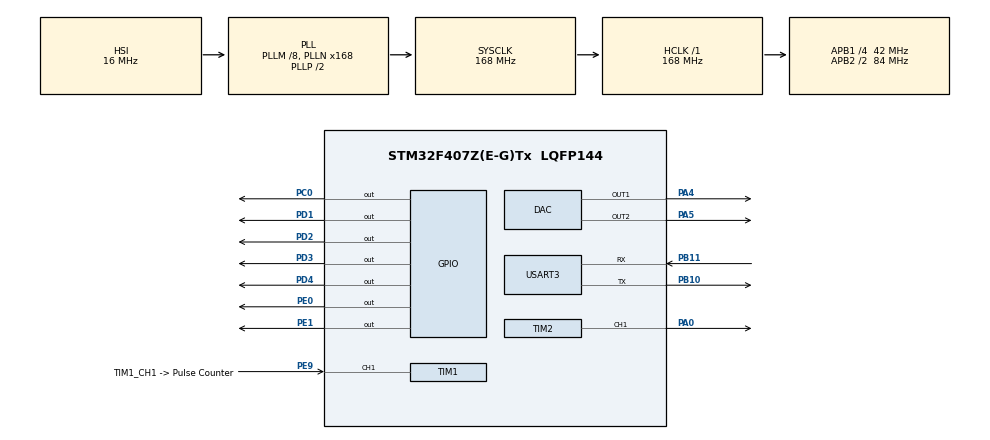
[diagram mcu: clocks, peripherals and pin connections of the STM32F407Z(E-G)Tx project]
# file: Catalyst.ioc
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Dma.Request0=USART3_RX
Dma.USART3_RX.0.Direction=DMA_PERIPH_TO_MEMORY
Dma.USART3_RX.0.FIFOMode=DMA_FIFOMODE_DISABLE
Dma.USART3_RX.0.Instance=DMA1_Stream1
Dma.USART3_RX.0.MemDataAlignment=DMA_MDATAALIGN_BYTE
Dma.USART3_RX.0.MemInc=DMA_MINC_ENABLE
Dma.USART3_RX.0.Mode=DMA_NORMAL
Dma.USART3_RX.0.PeriphDataAlignment=DMA_PDATAALIGN_BYTE
Dma.USART3_RX.0.PeriphInc=DMA_PINC_DISABLE
Dma.USART3_RX.0.Priority=DMA_PRIORITY_MEDIUM
Mcu.Family=STM32F4
Mcu.Name=STM32F407Z(E-G)Tx
Mcu.Package=LQFP144
NVIC.DMA1_Stream1_IRQn=true\:0\:0\:false\:false\:true\:false
NVIC.PriorityGroup=NVIC_PRIORITYGROUP_3
PA0-WKUP.GPIO_Speed=GPIO_SPEED_FREQ_VERY_HIGH
PA0-WKUP.Signal=S_TIM2_CH1_ETR
PA4.Signal=COMP_DAC1_group
PA5.Signal=COMP_DAC2_group
PB10.Mode=Asynchronous
PB10.Signal=USART3_TX
PB11.Mode=Asynchronous
PB11.Signal=USART3_RX
PC0.Signal=GPIO_Output
PD1.Signal=GPIO_Output
PD2.Signal=GPIO_Output
PD3.Signal=GPIO_Output
PD4.Signal=GPIO_Output
PE0.Signal=GPIO_Output
PE1.Signal=GPIO_Output
PE9.GPIO_Label=TIM1_CH1 -> Pulse Counter
PE9.GPIO_Speed=GPIO_SPEED_FREQ_VERY_HIGH
PE9.Signal=S_TIM1_CH1
ProjectManager.HeapSize=0x200
ProjectManager.StackSize=0x400
ProjectManager.TargetToolchain=MDK-ARM V5
RCC.48MHZClocksFreq_Value=84000000
RCC.AHBFreq_Value=168000000
RCC.APB1CLKDivider=RCC_HCLK_DIV4
RCC.APB1Freq_Value=42000000
RCC.APB1TimFreq_Value=84000000
RCC.APB2CLKDivider=RCC_HCLK_DIV2
RCC.APB2Freq_Value=84000000
RCC.APB2TimFreq_Value=168000000
RCC.CortexFreq_Value=168000000
RCC.HCLKFreq_Value=168000000
RCC.HSE_VALUE=25000000
RCC.HSI_VALUE=16000000
RCC.LSE_VALUE=32768
RCC.PLLM=8
RCC.PLLN=168
RCC.SYSCLKFreq_VALUE=168000000
RCC.SYSCLKSource=RCC_SYSCLKSOURCE_PLLCLK
RCC.VCOOutputFreq_Value=336000000
SH.COMP_DAC1_group.0=DAC_OUT1,DAC_OUT1
SH.COMP_DAC2_group.0=DAC_OUT2,DAC_OUT2
SH.S_TIM1_CH1.0=TIM1_CH1,TriggerSource_TI1FP1
SH.S_TIM2_CH1_ETR.0=TIM2_CH1,PWM Generation1 CH1
TIM1.Period=65535
TIM2.Channel-PWM\ Generation1\ CH1=TIM_CHANNEL_1
TIM8.Channel-PWM\ Generation1\ No\ Output=TIM_CHANNEL_1
USART3.VirtualMode=VM_ASYNC
VP_TIM1_VS_ControllerModeClock.Mode=Clock Mode
VP_TIM8_VS_no_output1.Mode=PWM Generation1 No Output
board=Catalyst

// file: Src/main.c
/**
  ******************************************************************************
  * @file           : main.c
  * @brief          : Main program body
  ******************************************************************************
  ** This notice applies to any and all portions of this file
  * that are not between comment pairs USER CODE BEGIN and
  * USER CODE END. Other portions of this file, whether
  * inserted by the user or by software development tools
  * are owned by their respective copyright owners.
  *
  * COPYRIGHT(c) 2020 STMicroelectronics
  *
  * Redistribution and use in source and binary forms, with or without modification,
  * are permitted provided that the following conditions are met:
  *   1. Redistributions of source code must retain the above copyright notice,
  *      this list of conditions and the following disclaimer.
  *   2. Redistributions in binary form must reproduce the above copyright notice,
  *      this list of conditions and the following disclaimer in the documentation
  *      and/or other materials provided with the distribution.
  *   3. Neither the name of STMicroelectronics nor the names of its contributors
  *      may be used to endorse or promote products derived from this software
  *      without specific prior written permission.
  *
  * THIS SOFTWARE IS PROVIDED BY THE COPYRIGHT HOLDERS AND CONTRIBUTORS "AS IS"
  * AND ANY EXPRESS OR IMPLIED WARRANTIES, INCLUDING, BUT NOT LIMITED TO, THE
  * IMPLIED WARRANTIES OF MERCHANTABILITY AND FITNESS FOR A PARTICULAR PURPOSE ARE
  * DISCLAIMED. IN NO EVENT SHALL THE COPYRIGHT HOLDER OR CONTRIBUTORS BE LIABLE
  * FOR ANY DIRECT, INDIRECT, INCIDENTAL, SPECIAL, EXEMPLARY, OR CONSEQUENTIAL
  * DAMAGES (INCLUDING, BUT NOT LIMITED TO, PROCUREMENT OF SUBSTITUTE GOODS OR
  * SERVICES; LOSS OF USE, DATA, OR PROFITS; OR BUSINESS INTERRUPTION) HOWEVER
  * CAUSED AND ON ANY THEORY OF LIABILITY, WHETHER IN CONTRACT, STRICT LIABILITY,
  * OR TORT (INCLUDING NEGLIGENCE OR OTHERWISE) ARISING IN ANY WAY OUT OF THE USE
  * OF THIS SOFTWARE, EVEN IF ADVISED OF THE POSSIBILITY OF SUCH DAMAGE.
  *
  ******************************************************************************
  */
#include "main.h"
#include "stm32f4xx_hal.h"

/* USER CODE BEGIN Includes */
#include "stdbool.h"
#include <stdlib.h>
#include <string.h>
#include <math.h>

#define HVMax (45000)
#define HVMin (0)

#define dHV (0.08)
#define HVOffset (0.0)

#define CrtMax (40.0)
#define CrtMin (0.0)

#define dCrt (100)
#define CrtOffset (0.0)

/* USER CODE END Includes */

DAC_HandleTypeDef hdac;

TIM_HandleTypeDef htim1;
TIM_HandleTypeDef htim2;
TIM_HandleTypeDef htim8;

UART_HandleTypeDef huart3;
DMA_HandleTypeDef hdma_usart3_rx;

/* USER CODE BEGIN PV */
/* Private variables ---------------------------------------------------------*/

int X_counter = 0;
int step;  // stepper motor step
double Theta = 0, MaxTheta = 90;
double dTh = 0.01;

int HVvalue;
double CrtValue;

uint16_t ADC_buffer[2] = {0, 0};
char UartData[1000];
char StrCommand[1000];
char CommandStack[1000];
char StrBuffer[200];
struct Command_struct {int command_num;char Command_str[100]; int value1;int value2;int value3;};
enum direction {forward, backward};

#define size_x  600 // mm
#define step_size 0.183

int StepperPosition = 0;
const int maxstep = 6560; // max half step means 2*size_x/step_size
int delay_micro = 1000;

char str4Send[100];
struct Command_struct CurrentCommand;
struct Command_struct MyCommand;

/* USER CODE END PV */

void SystemClock_Config(void);
static void MX_GPIO_Init(void);
static void MX_DMA_Init(void);
static void MX_USART3_UART_Init(void);
static void MX_DAC_Init(void);
static void MX_TIM1_Init(void);
static void MX_TIM2_Init(void);
static void MX_TIM8_Init(void);

void HAL_TIM_MspPostInit(TIM_HandleTypeDef *htim);

/* USER CODE BEGIN PFP */

/* Private function prototypes -----------------------------------------------*/
int tolower(unsigned char);
void One_Step(int);
struct Command_struct str2command(char* chars);
void GoToHome(void);
void StartScan(void);
void ResetCommand(void);
double stod(char *,int);
int stoi(char *,int);
void itos(int ii, char* st);
void AddStr(char StrHost[], char NewStr[]);
void SendTime(void);
void SendDetectorValue(void);
void SendHV(void);
void SendCrt(void);
int HV2DAC(int);
int Crt2DAC(double);
void DriveStepper(int StepperPosition);
signed int StrSize(char str[]);
void SendInt(int i);
void SendDouble(double d);
void SendStr(char NewStr[]);
void AddStr(char StrHost[], char NewStr[]);
bool Cut2Enter(char StrHost[], char Command[]);
char* stristr( const char* str1, const char* str2);
void StartScan(void);
void doCommand(struct Command_struct MyCommand);
void ReceiveCommand(void);
void half_Step(enum direction dir);

/* USER CODE END PFP */

int main(void)
{

  /* MCU Configuration----------------------------------------------------------*/

  /* Reset of all peripherals, Initializes the Flash interface and the Systick. */
  HAL_Init();

  /* Configure the system clock */
  SystemClock_Config();

  /* Initialize all configured peripherals */
  MX_GPIO_Init();
  MX_DMA_Init();
  MX_USART3_UART_Init();
  MX_DAC_Init();
  MX_TIM1_Init();
  MX_TIM2_Init();
  MX_TIM8_Init();

  /* Infinite loop */
  /* USER CODE BEGIN WHILE */

	 HAL_DAC_Start(&hdac, DAC_CHANNEL_1);
	 HAL_DAC_Start(&hdac, DAC_CHANNEL_2);

   step = 0;
	 for (int i=0; i<2; i++)
	 {
		 HAL_GPIO_WritePin(GPIOC,GPIO_PIN_0,GPIO_PIN_SET);
		 HAL_Delay(1000);
		 HAL_GPIO_WritePin(GPIOC,GPIO_PIN_0,GPIO_PIN_RESET);
		 HAL_Delay(1000);
	 }

	int i = 0;
	HAL_GPIO_WritePin(GPIOE,GPIO_PIN_0,GPIO_PIN_SET);
	HAL_UART_Receive_DMA(&huart3,(uint8_t *)UartData,1000);

  while (1)
  {

		ReceiveCommand();
		doCommand(CurrentCommand);

		SendStr(CurrentCommand.Command_str);
		i++;

		if (i < 400)
		{
	    HAL_GPIO_WritePin(GPIOC,GPIO_PIN_0,GPIO_PIN_SET);
			One_Step(0);
		}
		else if(i > 800)
		{
			i = 0;
		}
		else
		{
	    HAL_GPIO_WritePin(GPIOC,GPIO_PIN_0,GPIO_PIN_RESET);
			One_Step(1);
		}

  /* USER CODE END WHILE */

  }

}

void SystemClock_Config(void)
{

  RCC_OscInitTypeDef RCC_OscInitStruct;
  RCC_ClkInitTypeDef RCC_ClkInitStruct;

    /**Configure the main internal regulator output voltage
    */
  __HAL_RCC_PWR_CLK_ENABLE();

  __HAL_PWR_VOLTAGESCALING_CONFIG(PWR_REGULATOR_VOLTAGE_SCALE1);

    /**Initializes the CPU, AHB and APB busses clocks
    */
  RCC_OscInitStruct.OscillatorType = RCC_OSCILLATORTYPE_HSI;
  RCC_OscInitStruct.HSIState = RCC_HSI_ON;
  RCC_OscInitStruct.HSICalibrationValue = 16;
  RCC_OscInitStruct.PLL.PLLState = RCC_PLL_ON;
  RCC_OscInitStruct.PLL.PLLSource = RCC_PLLSOURCE_HSI;
  RCC_OscInitStruct.PLL.PLLM = 8;
  RCC_OscInitStruct.PLL.PLLN = 168;
  RCC_OscInitStruct.PLL.PLLP = RCC_PLLP_DIV2;
  RCC_OscInitStruct.PLL.PLLQ = 4;
  if (HAL_RCC_OscConfig(&RCC_OscInitStruct) != HAL_OK)
  {
    _Error_Handler(__FILE__, __LINE__);
  }

    /**Initializes the CPU, AHB and APB busses clocks
    */
  RCC_ClkInitStruct.ClockType = RCC_CLOCKTYPE_HCLK|RCC_CLOCKTYPE_SYSCLK
                              |RCC_CLOCKTYPE_PCLK1|RCC_CLOCKTYPE_PCLK2;
  RCC_ClkInitStruct.SYSCLKSource = RCC_SYSCLKSOURCE_PLLCLK;
  RCC_ClkInitStruct.AHBCLKDivider = RCC_SYSCLK_DIV1;
  RCC_ClkInitStruct.APB1CLKDivider = RCC_HCLK_DIV4;
  RCC_ClkInitStruct.APB2CLKDivider = RCC_HCLK_DIV2;

  if (HAL_RCC_ClockConfig(&RCC_ClkInitStruct, FLASH_LATENCY_5) != HAL_OK)
  {
    _Error_Handler(__FILE__, __LINE__);
  }

    /**Configure the Systick interrupt time
    */
  HAL_SYSTICK_Config(HAL_RCC_GetHCLKFreq()/1000);

    /**Configure the Systick
    */
  HAL_SYSTICK_CLKSourceConfig(SYSTICK_CLKSOURCE_HCLK);

  /* SysTick_IRQn interrupt configuration */
  HAL_NVIC_SetPriority(SysTick_IRQn, 0, 0);
}

/* DAC init function */
static void MX_DAC_Init(void)
{

  DAC_ChannelConfTypeDef sConfig;

    /**DAC Initialization
    */
  hdac.Instance = DAC;
  if (HAL_DAC_Init(&hdac) != HAL_OK)
  {
    _Error_Handler(__FILE__, __LINE__);
  }

    /**DAC channel OUT1 config
    */
  sConfig.DAC_Trigger = DAC_TRIGGER_NONE;
  sConfig.DAC_OutputBuffer = DAC_OUTPUTBUFFER_ENABLE;
  if (HAL_DAC_ConfigChannel(&hdac, &sConfig, DAC_CHANNEL_1) != HAL_OK)
  {
    _Error_Handler(__FILE__, __LINE__);
  }

    /**DAC channel OUT2 config
    */
  if (HAL_DAC_ConfigChannel(&hdac, &sConfig, DAC_CHANNEL_2) != HAL_OK)
  {
    _Error_Handler(__FILE__, __LINE__);
  }

}

/* TIM1 init function */
static void MX_TIM1_Init(void)
{

  TIM_SlaveConfigTypeDef sSlaveConfig;
  TIM_MasterConfigTypeDef sMasterConfig;

  htim1.Instance = TIM1;
  htim1.Init.Prescaler = 0;
  htim1.Init.CounterMode = TIM_COUNTERMODE_UP;
  htim1.Init.Period = 65535;
  htim1.Init.ClockDivision = TIM_CLOCKDIVISION_DIV1;
  htim1.Init.RepetitionCounter = 0;
  if (HAL_TIM_Base_Init(&htim1) != HAL_OK)
  {
    _Error_Handler(__FILE__, __LINE__);
  }

  sSlaveConfig.SlaveMode = TIM_SLAVEMODE_EXTERNAL1;
  sSlaveConfig.InputTrigger = TIM_TS_TI1FP1;
  sSlaveConfig.TriggerPolarity = TIM_TRIGGERPOLARITY_RISING;
  sSlaveConfig.TriggerFilter = 0;
  if (HAL_TIM_SlaveConfigSynchronization(&htim1, &sSlaveConfig) != HAL_OK)
  {
    _Error_Handler(__FILE__, __LINE__);
  }

  sMasterConfig.MasterOutputTrigger = TIM_TRGO_RESET;
  sMasterConfig.MasterSlaveMode = TIM_MASTERSLAVEMODE_DISABLE;
  if (HAL_TIMEx_MasterConfigSynchronization(&htim1, &sMasterConfig) != HAL_OK)
  {
    _Error_Handler(__FILE__, __LINE__);
  }

}

/* TIM2 init function */
static void MX_TIM2_Init(void)
{

  TIM_MasterConfigTypeDef sMasterConfig;
  TIM_OC_InitTypeDef sConfigOC;

  htim2.Instance = TIM2;
  htim2.Init.Prescaler = 0;
  htim2.Init.CounterMode = TIM_COUNTERMODE_UP;
  htim2.Init.Period = 0;
  htim2.Init.ClockDivision = TIM_CLOCKDIVISION_DIV1;
  if (HAL_TIM_PWM_Init(&htim2) != HAL_OK)
  {
    _Error_Handler(__FILE__, __LINE__);
  }

  sMasterConfig.MasterOutputTrigger = TIM_TRGO_RESET;
  sMasterConfig.MasterSlaveMode = TIM_MASTERSLAVEMODE_DISABLE;
  if (HAL_TIMEx_MasterConfigSynchronization(&htim2, &sMasterConfig) != HAL_OK)
  {
    _Error_Handler(__FILE__, __LINE__);
  }

  sConfigOC.OCMode = TIM_OCMODE_PWM1;
  sConfigOC.Pulse = 0;
  sConfigOC.OCPolarity = TIM_OCPOLARITY_HIGH;
  sConfigOC.OCFastMode = TIM_OCFAST_DISABLE;
  if (HAL_TIM_PWM_ConfigChannel(&htim2, &sConfigOC, TIM_CHANNEL_1) != HAL_OK)
  {
    _Error_Handler(__FILE__, __LINE__);
  }

  HAL_TIM_MspPostInit(&htim2);

}

/* TIM8 init function */
static void MX_TIM8_Init(void)
{

  TIM_MasterConfigTypeDef sMasterConfig;
  TIM_OC_InitTypeDef sConfigOC;
  TIM_BreakDeadTimeConfigTypeDef sBreakDeadTimeConfig;

  htim8.Instance = TIM8;
  htim8.Init.Prescaler = 0;
  htim8.Init.CounterMode = TIM_COUNTERMODE_UP;
  htim8.Init.Period = 0;
  htim8.Init.ClockDivision = TIM_CLOCKDIVISION_DIV1;
  htim8.Init.RepetitionCounter = 0;
  if (HAL_TIM_PWM_Init(&htim8) != HAL_OK)
  {
    _Error_Handler(__FILE__, __LINE__);
  }

  sMasterConfig.MasterOutputTrigger = TIM_TRGO_RESET;
  sMasterConfig.MasterSlaveMode = TIM_MASTERSLAVEMODE_DISABLE;
  if (HAL_TIMEx_MasterConfigSynchronization(&htim8, &sMasterConfig) != HAL_OK)
  {
    _Error_Handler(__FILE__, __LINE__);
  }

  sConfigOC.OCMode = TIM_OCMODE_PWM1;
  sConfigOC.Pulse = 0;
  sConfigOC.OCPolarity = TIM_OCPOLARITY_HIGH;
  sConfigOC.OCNPolarity = TIM_OCNPOLARITY_HIGH;
  sConfigOC.OCFastMode = TIM_OCFAST_DISABLE;
  sConfigOC.OCIdleState = TIM_OCIDLESTATE_RESET;
  sConfigOC.OCNIdleState = TIM_OCNIDLESTATE_RESET;
  if (HAL_TIM_PWM_ConfigChannel(&htim8, &sConfigOC, TIM_CHANNEL_1) != HAL_OK)
  {
    _Error_Handler(__FILE__, __LINE__);
  }

  sBreakDeadTimeConfig.OffStateRunMode = TIM_OSSR_DISABLE;
  sBreakDeadTimeConfig.OffStateIDLEMode = TIM_OSSI_DISABLE;
  sBreakDeadTimeConfig.LockLevel = TIM_LOCKLEVEL_OFF;
  sBreakDeadTimeConfig.DeadTime = 0;
  sBreakDeadTimeConfig.BreakState = TIM_BREAK_DISABLE;
  sBreakDeadTimeConfig.BreakPolarity = TIM_BREAKPOLARITY_HIGH;
  sBreakDeadTimeConfig.AutomaticOutput = TIM_AUTOMATICOUTPUT_DISABLE;
  if (HAL_TIMEx_ConfigBreakDeadTime(&htim8, &sBreakDeadTimeConfig) != HAL_OK)
  {
    _Error_Handler(__FILE__, __LINE__);
  }

}

/* USART3 init function */
static void MX_USART3_UART_Init(void)
{

  huart3.Instance = USART3;
  huart3.Init.BaudRate = 115200;
  huart3.Init.WordLength = UART_WORDLENGTH_8B;
  huart3.Init.StopBits = UART_STOPBITS_1;
  huart3.Init.Parity = UART_PARITY_NONE;
  huart3.Init.Mode = UART_MODE_TX_RX;
  huart3.Init.HwFlowCtl = UART_HWCONTROL_NONE;
  huart3.Init.OverSampling = UART_OVERSAMPLING_16;
  if (HAL_UART_Init(&huart3) != HAL_OK)
  {
    _Error_Handler(__FILE__, __LINE__);
  }

}

static void MX_DMA_Init(void)
{
  /* DMA controller clock enable */
  __HAL_RCC_DMA1_CLK_ENABLE();

  /* DMA interrupt init */
  /* DMA1_Stream1_IRQn interrupt configuration */
  HAL_NVIC_SetPriority(DMA1_Stream1_IRQn, 0, 0);
  HAL_NVIC_EnableIRQ(DMA1_Stream1_IRQn);

}

/** Configure pins as
        * Analog
        * Input
        * Output
        * EVENT_OUT
        * EXTI
*/
static void MX_GPIO_Init(void)
{

  GPIO_InitTypeDef GPIO_InitStruct;

  /* GPIO Ports Clock Enable */
  __HAL_RCC_GPIOC_CLK_ENABLE();
  __HAL_RCC_GPIOA_CLK_ENABLE();
  __HAL_RCC_GPIOE_CLK_ENABLE();
  __HAL_RCC_GPIOB_CLK_ENABLE();
  __HAL_RCC_GPIOD_CLK_ENABLE();

  /*Configure GPIO pin Output Level */
  HAL_GPIO_WritePin(GPIOC, GPIO_PIN_0, GPIO_PIN_RESET);

  /*Configure GPIO pin Output Level */
  HAL_GPIO_WritePin(GPIOD, GPIO_PIN_1|GPIO_PIN_2|GPIO_PIN_3|GPIO_PIN_4, GPIO_PIN_RESET);

  /*Configure GPIO pin Output Level */
  HAL_GPIO_WritePin(GPIOE, GPIO_PIN_0|GPIO_PIN_1, GPIO_PIN_RESET);

  /*Configure GPIO pin : PC0 */
  GPIO_InitStruct.Pin = GPIO_PIN_0;
  GPIO_InitStruct.Mode = GPIO_MODE_OUTPUT_PP;
  GPIO_InitStruct.Pull = GPIO_NOPULL;
  GPIO_InitStruct.Speed = GPIO_SPEED_FREQ_LOW;
  HAL_GPIO_Init(GPIOC, &GPIO_InitStruct);

  /*Configure GPIO pins : PD1 PD2 PD3 PD4 */
  GPIO_InitStruct.Pin = GPIO_PIN_1|GPIO_PIN_2|GPIO_PIN_3|GPIO_PIN_4;
  GPIO_InitStruct.Mode = GPIO_MODE_OUTPUT_PP;
  GPIO_InitStruct.Pull = GPIO_NOPULL;
  GPIO_InitStruct.Speed = GPIO_SPEED_FREQ_LOW;
  HAL_GPIO_Init(GPIOD, &GPIO_InitStruct);

  /*Configure GPIO pins : PE0 PE1 */
  GPIO_InitStruct.Pin = GPIO_PIN_0|GPIO_PIN_1;
  GPIO_InitStruct.Mode = GPIO_MODE_OUTPUT_PP;
  GPIO_InitStruct.Pull = GPIO_NOPULL;
  GPIO_InitStruct.Speed = GPIO_SPEED_FREQ_LOW;
  HAL_GPIO_Init(GPIOE, &GPIO_InitStruct);

}

/* USER CODE BEGIN 4 */

void HAL_TIM_PeriodElapsedCallback(TIM_HandleTypeDef *htim)
{
	if (htim->Instance == TIM8)
	{
	  	char str[100];
			X_counter = __HAL_TIM_GetCounter(&htim1);
		  HAL_TIM_Base_Stop(&htim1);

			sprintf(str ,"Th = %0.3f ; StepperPos = %i ; Pulse = %i \r\n", Theta, StepperPosition, X_counter);
			half_Step(forward);
   		__HAL_TIM_SetCounter(&htim1,0);
		  HAL_TIM_Base_Start(&htim1);

		  SendStr(str);
		  Theta += dTh;
	}
}

void DriveStepper(int StepperPosition)
{
	switch (StepperPosition)
	{
		case 0:
 	 	  HAL_GPIO_WritePin(GPIOD,GPIO_PIN_1,GPIO_PIN_SET);
 	 	  HAL_GPIO_WritePin(GPIOD,GPIO_PIN_2,GPIO_PIN_RESET);
 	 	  HAL_GPIO_WritePin(GPIOD,GPIO_PIN_3,GPIO_PIN_RESET);
 	 	  HAL_GPIO_WritePin(GPIOD,GPIO_PIN_4,GPIO_PIN_RESET);
		  break;
		case 1:
 	 	  HAL_GPIO_WritePin(GPIOD,GPIO_PIN_1,GPIO_PIN_SET);
 	 	  HAL_GPIO_WritePin(GPIOD,GPIO_PIN_2,GPIO_PIN_SET);
 	 	  HAL_GPIO_WritePin(GPIOD,GPIO_PIN_3,GPIO_PIN_RESET);
 	 	  HAL_GPIO_WritePin(GPIOD,GPIO_PIN_4,GPIO_PIN_RESET);
		  break;
		case 2:
 	 	  HAL_GPIO_WritePin(GPIOD,GPIO_PIN_1,GPIO_PIN_RESET);
 	 	  HAL_GPIO_WritePin(GPIOD,GPIO_PIN_2,GPIO_PIN_SET);
 	 	  HAL_GPIO_WritePin(GPIOD,GPIO_PIN_3,GPIO_PIN_RESET);
 	 	  HAL_GPIO_WritePin(GPIOD,GPIO_PIN_4,GPIO_PIN_RESET);
		  break;
		case 3:
 	 	  HAL_GPIO_WritePin(GPIOD,GPIO_PIN_1,GPIO_PIN_RESET);
 	 	  HAL_GPIO_WritePin(GPIOD,GPIO_PIN_2,GPIO_PIN_SET);
 	 	  HAL_GPIO_WritePin(GPIOD,GPIO_PIN_3,GPIO_PIN_SET);
 	 	  HAL_GPIO_WritePin(GPIOD,GPIO_PIN_4,GPIO_PIN_RESET);
		  break;
		case 4:
 	 	  HAL_GPIO_WritePin(GPIOD,GPIO_PIN_1,GPIO_PIN_RESET);
 	 	  HAL_GPIO_WritePin(GPIOD,GPIO_PIN_2,GPIO_PIN_RESET);
 	 	  HAL_GPIO_WritePin(GPIOD,GPIO_PIN_3,GPIO_PIN_SET);
 	 	  HAL_GPIO_WritePin(GPIOD,GPIO_PIN_4,GPIO_PIN_RESET);
		  break;
		case 5:
 	 	  HAL_GPIO_WritePin(GPIOD,GPIO_PIN_1,GPIO_PIN_RESET);
 	 	  HAL_GPIO_WritePin(GPIOD,GPIO_PIN_2,GPIO_PIN_RESET);
 	 	  HAL_GPIO_WritePin(GPIOD,GPIO_PIN_3,GPIO_PIN_SET);
 	 	  HAL_GPIO_WritePin(GPIOD,GPIO_PIN_4,GPIO_PIN_SET);
		  break;
		case 6:
 	 	  HAL_GPIO_WritePin(GPIOD,GPIO_PIN_1,GPIO_PIN_RESET);
 	 	  HAL_GPIO_WritePin(GPIOD,GPIO_PIN_2,GPIO_PIN_RESET);
 	 	  HAL_GPIO_WritePin(GPIOD,GPIO_PIN_3,GPIO_PIN_RESET);
 	 	  HAL_GPIO_WritePin(GPIOD,GPIO_PIN_4,GPIO_PIN_SET);
	 	  break;
		case 7:
 	 	  HAL_GPIO_WritePin(GPIOD,GPIO_PIN_1,GPIO_PIN_SET);
 	 	  HAL_GPIO_WritePin(GPIOD,GPIO_PIN_2,GPIO_PIN_RESET);
 	 	  HAL_GPIO_WritePin(GPIOD,GPIO_PIN_3,GPIO_PIN_RESET);
 	 	  HAL_GPIO_WritePin(GPIOD,GPIO_PIN_4,GPIO_PIN_SET);
		  break;
	}
}

signed int StrSize(char str[])
{
	int size,S2,i;
	bool FindEnd;

	size = 0;
	S2 = 1000;
	FindEnd = false;

	for (i=0; i<S2; i++)
	{
		if ((str[i] == 0) & !FindEnd)
		{
			size = i;
			FindEnd = true;
		}
	}
	return size;
}

void SendInt(int i)
{
	char buffer[20];
	sprintf(buffer, "%d\r\n", i);
	HAL_UART_Transmit(&huart3, (uint8_t*)buffer,StrSize(buffer),50);
}

void SendDouble(double d)
{
	char buffer[20];
	sprintf(buffer, "%0.5f\r\n", d);
	HAL_UART_Transmit(&huart3, (uint8_t*)buffer,StrSize(buffer),50);
}

void SendStr(char NewStr[])
{
	HAL_UART_Transmit(&huart3,(uint8_t *) NewStr,StrSize(NewStr),50);
}

void AddStr(char StrHost[], char NewStr[])
{
	int i, j , k;

	i = StrSize(StrHost);
	j = StrSize(NewStr);
	for (k = 0; k < j; k++)
	{
		if (NewStr[k] > 0)
			StrHost[i+k] = NewStr[k];
		else
			break;
	}
	StrHost[i+j] = 0;
}

bool Cut2Enter(char StrHost[], char Command[])
{
	int i, j, k;
	bool CommandRec;

	CommandRec = false;
	i = StrSize(StrHost);

	for (k = 0; k < i; k++)
	{
		if ((StrHost[k] > 0) && (!CommandRec))
		{
				Command[k] = StrHost[k];
				if(StrHost[k] == 10 | StrHost[k] == 13)
				{
					CommandRec = true;
				}
				Command[k+1] = 0;
		}
		else
			break;
	}

	if (CommandRec)
	{
		for (j = k; j < i; j++)
		{
			StrHost[j-k] = StrHost[j];
		}
		StrHost[i-k] = 0;

		if (j < 2)
			CommandRec = false;
	}

	return CommandRec;
}

char* stristr( const char* str1, const char* str2 )
{
    const char* p1 = str1 ;
    const char* p2 = str2 ;
    const char* r = *p2 == 0 ? str1 : 0 ;

    while( *p1 != 0 && *p2 != 0 )
    {
        if( tolower((unsigned char)*p1) == tolower( (unsigned char)*p2 ) )
        {
            if( r == 0 )
            {
                r = p1 ;
            }
            p2++ ;
        }
        else
        {
            p2 = str2 ;
            if( r != 0 )
            {
                p1 = r + 1 ;
            }

            if( tolower( (unsigned char)*p1 ) == tolower( (unsigned char)*p2 ) )
            {
                r = p1 ;
                p2++ ;
            }
            else
            {
                r = 0 ;
            }
        }
        p1++ ;
    }

    return *p2 == 0 ? (char*)r : 0 ;
}

void StartScan()
{
	GoToHome();
	Theta = 0;
	X_counter = 0;
	HAL_TIM_Base_Start(&htim1);
  HAL_TIM_Base_Start(&htim8);
	__HAL_TIM_SET_COMPARE(&htim8,TIM_CHANNEL_1,htim8.Init.Period/2);
  __HAL_TIM_SetCounter(&htim1,0);

	while(Theta <= MaxTheta)
	{}
	HAL_TIM_Base_Stop(&htim8);
	HAL_TIM_Base_Stop(&htim1);
}

void doCommand(struct Command_struct MyCommand)
{
	int i;
	if (MyCommand.command_num != 0)
	{

		if (MyCommand.command_num == 1)
			GoToHome();
		else
		{
			if (MyCommand.command_num == 2)
			{
				StartScan();
				for (i = 0;i<1000; i++)
				{
					CommandStack[i] = 0;
				}
			}
		}
	}
	ResetCommand();
}

void ReceiveCommand(void)
{
	int i;
	char myCommand[100];

	if (StrSize(UartData) > 0)
	{
		HAL_Delay(10);
		HAL_UART_DMAStop(&huart3);
  	AddStr(CommandStack, UartData);
		for (i=0; i<1000;i++)
			UartData[i] = 0;
		HAL_UART_Receive_DMA(&huart3,(uint8_t *)UartData,1000);
	}

	if (StrSize(CommandStack) > 0){
		if (Cut2Enter(CommandStack,myCommand))
		{
  	  CurrentCommand = str2command(myCommand);
		}
	}
}

struct Command_struct str2command(char* chars)
{
	struct Command_struct NewCommand;
	char *pch;
	char str[30];

	NewCommand.command_num = 0;

	pch = stristr(chars,"GTH");
	if (pch!=NULL)
	{
		sprintf(NewCommand.Command_str,"GTH");
		NewCommand.command_num = 1;
	}

	pch = stristr(chars,"CON?");
	if (pch!=NULL)
	{
		SendStr("Connected\r\n");
	}

	pch = stristr(chars,"SetT");
	if (pch!=NULL)
	{
		int ti = stoi(pch,4);
		if (ti > 400)
			delay_micro = ti;
		sprintf(str ,"T = %i \r\n",delay_micro);
		SendStr(str);
	}

	pch = stristr(chars,"SHV");
	if (pch!=NULL)
	{
		HVvalue = stoi(pch,3);
		if (HVvalue > HVMax)
		{
			sprintf(StrBuffer,"Can not Set HV to %d V . Maximum HV is %d V \r\n", HVvalue, HVMax);
			SendStr(StrBuffer);
			HVvalue = HVMax;
	  }
		if (HVvalue < HVMin )
		{
			sprintf(StrBuffer,"Can not Set HV to %d V. Minimum HV is %d V \r\n", HVvalue, HVMin);
  		SendStr(StrBuffer);
			HVvalue = HVMin;
		}
    HAL_DAC_SetValue(&hdac, DAC_CHANNEL_1, DAC_ALIGN_12B_R, HV2DAC(HVvalue));
    SendInt(HV2DAC(HVvalue));
		SendHV();
	}

	pch = stristr(chars,"SCrt");
	if (pch!=NULL)
	{
		CrtValue = stod(pch,4);
		if (CrtValue > CrtMax )
		{
			sprintf(StrBuffer,"Can not Set Current to %0.5f mA. Maximum Current is %0.5f mA \r\n", CrtValue, CrtMax);
			SendStr(StrBuffer);
			CrtValue = CrtMax;
		}
		if (CrtValue < CrtMin )
		{
			sprintf(StrBuffer,"Can not Set Current to %0.5f mA. Minimum Current is %0.5f mA\r\n", CrtValue, CrtMin);
			SendStr(StrBuffer);
			CrtValue = CrtMin;
	  }
		HAL_DAC_SetValue(&hdac, DAC_CHANNEL_2, DAC_ALIGN_12B_R, Crt2DAC(CrtValue));
    SendInt(Crt2DAC(CrtValue));
		SendCrt();
	}

	pch = stristr(chars,"Ti?");
	if (pch!=NULL)
	{
		SendTime();
	}

	pch = stristr(chars,"HV?");
	if (pch!=NULL)
	{
		SendHV();
	}

	pch = stristr(chars,"Crt?");
	if (pch!=NULL)
	{
		SendCrt();
	}

	pch = stristr(chars,"Sc");
	if (pch!=NULL)
	{
		sprintf(NewCommand.Command_str,"Sc");
		NewCommand.command_num = 2;
	}
	return NewCommand;
}

double stod(char *str,int start)
{
  int i,j;
	double k;
	bool IsPointRead;
	double DecimalCoeff = 1;

	IsPointRead = false;
  i = strlen(str);
  k=0;

	for(j=start;j<i;j++){
		if (!IsPointRead)
		{
			if ((str[j] >= 48) && (str[j] <= 57))
			{
				k = k * 10;
				k = k + (str[j] - 48);
			}
			else if(str[j] == 46)
			{
			  IsPointRead = true;
			}
			else
			{
				break;
			}
		}
		else
		{
			DecimalCoeff = DecimalCoeff * 0.1;
		  if ((str[j] >= 48) && (str[j] <= 57))
			{
				k = k + (str[j] - 48)*DecimalCoeff;
			}
			else
			{
				break;
			}
		}
	}
	return k;
}

int stoi(char *str,int start)
{
  int i = strlen(str) ,k=0;

	for(int j=start;j<i;j++){
		if ((str[j] >= 48) && (str[j] <= 57))
		{
			k = k * 10;
			k = k + (str[j] - 48);
		}
		else
		{
			break;
		}

	}
	return k;
}

void itos(int i,char* st)
{
	int new_i;

	int k;
	new_i = i;

	for(int j=6; j>=0; j--){
		k = floor(new_i/pow(10,j));

		st[6-j] = k+48;
		new_i = new_i - k * pow(10,j);
	}

	st[7] = 0;
}

void One_Step(int dir)
{
	//if ((HAL_GPIO_ReadPin(GPIOA,GPIO_PIN_5)  == GPIO_PIN_RESET) && (dir == 0)) // check the Limit sensor released. if Limit sensor checked dont move forward
	if ((dir == 0)) // check the Limit sensor released. if Limit sensor checked dont move forward
	{
			HAL_GPIO_WritePin(GPIOE, GPIO_PIN_0, GPIO_PIN_SET);
			HAL_GPIO_WritePin(GPIOE, GPIO_PIN_1, GPIO_PIN_SET);
      HAL_Delay(1);
		  HAL_GPIO_WritePin(GPIOE, GPIO_PIN_1, GPIO_PIN_RESET);
	}

	//if ((HAL_GPIO_ReadPin(GPIOA,GPIO_PIN_4) == GPIO_PIN_RESET)  && (dir == 1)) // check the Home sensor released. if Home sensor checked dont move backward
	if (dir == 1) // check the Home sensor released. if Home sensor checked dont move backward
	{
			HAL_GPIO_WritePin(GPIOE, GPIO_PIN_0, GPIO_PIN_RESET);
			HAL_GPIO_WritePin(GPIOE, GPIO_PIN_1, GPIO_PIN_SET);
      HAL_Delay(1);
			HAL_GPIO_WritePin(GPIOE, GPIO_PIN_1, GPIO_PIN_RESET);
	}
}

void half_Step(enum direction dir)
{
	if (dir == backward)
		StepperPosition--;
	else
	  StepperPosition++;

	StepperPosition = (StepperPosition + 8) % 8;

	DriveStepper(StepperPosition);
}

void SendTime()
{
	char str[30];
	sprintf(str ,"T = %i \r\n",delay_micro);
	SendStr(str);
}

void SendHV(void)
{
	char str[30];
	sprintf(str ,"HV = %i \r\n",HVvalue);
	SendStr(str);
}
void SendCrt(void)
{
	char str[30];
	sprintf(str ,"Current = %0.5f \r\n",CrtValue);
	SendStr(str);
}

void GoToHome()
{
	uint16_t num = 0;

	while ((HAL_GPIO_ReadPin(GPIOA, GPIO_PIN_5) == GPIO_PIN_RESET) & (num < 10000)) // sensor is released
	{
		half_Step(backward);  // return to Home
		HAL_Delay(2);
		num++;
	}

	if (num >= 10000)
	{
		SendStr("Error in Goto Home.");
	}

	num = 0;
	while ((HAL_GPIO_ReadPin(GPIOA, GPIO_PIN_5) == GPIO_PIN_SET) & (num < 5000))
	{
		half_Step(forward);  // return to Home
		HAL_Delay(6);
		num++;
	}

	if (num >= 5000)
	{
		SendStr("Error in Goto Home.");
		HAL_Delay(200);
	}

	Theta = 0;
	SendStr("In Home\r\n");
}

void ResetCommand()
{
	CurrentCommand.command_num = 0;
	sprintf(CurrentCommand.Command_str,"");
	CurrentCommand.value1 = -1;
	CurrentCommand.value2 = -1;
	CurrentCommand.value3 = -1;
}

int HV2DAC(int HVvalue)
{
	int DACvalue;
	DACvalue = (HVvalue*dHV - HVOffset);
	if (DACvalue > 4095)
		DACvalue = 4095;
	return (DACvalue);
}

int Crt2DAC(double CrtValue)
{
	int DACvalue;
	DACvalue = (CrtValue*dCrt - CrtOffset);
	if (DACvalue > 4095)
		DACvalue = 4095;
	return (DACvalue);
}

/* USER CODE END 4 */

void _Error_Handler(char *file, int line)
{
  while(1)
  {
  }
}

/************************ (C) COPYRIGHT STMicroelectronics *****END OF FILE****/
